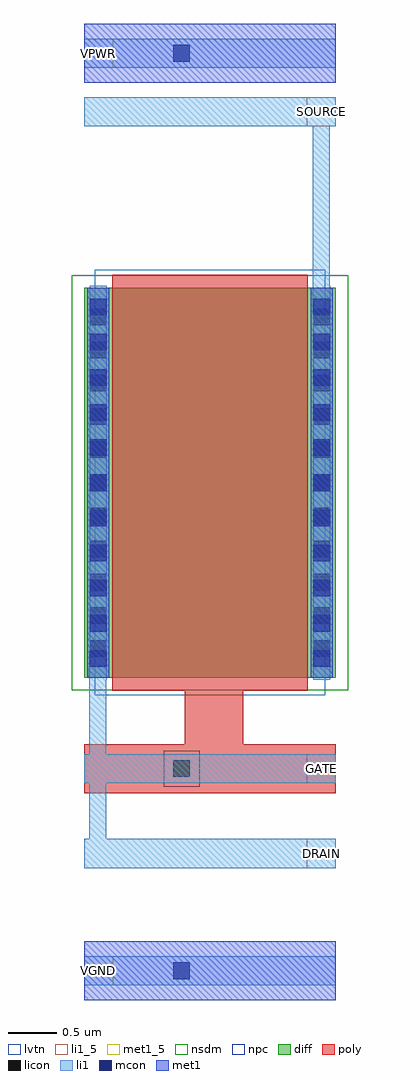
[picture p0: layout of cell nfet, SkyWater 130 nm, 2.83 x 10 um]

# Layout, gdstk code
import gdstk
lib = gdstk.Library(unit=1e-6, precision=1e-09)
def R(c, l, rs):  # rectangles x0, y0, x1, y1
    for r in rs: c.add(gdstk.rectangle(r[:2], r[2:], *l))
def A(c, l, x, y, w, h, nx, ny, dx, dy):  # array of equal rectangles
    R(c, l, [(x+i*dx, y+j*dy, x+i*dx+w, y+j*dy+h) for i in range(nx) for j in range(ny)])
diff = (65, 20)
poly = (66, 20)
licon = (66, 44)
li1_5 = (67, 5)
li1 = (67, 20)
mcon = (67, 44)
met1_5 = (68, 5)
met1 = (68, 20)
nsdm = (93, 44)
npc = (95, 20)
lvtn = (125, 44)

sky130_fd_pr__nfet_01v8_ = lib.new_cell('sky130_fd_pr__nfet_01v8_lvt_WX3WYP')
R(sky130_fd_pr__nfet_01v8_, diff, [(-1.29,-2,1.29,2)])
R(sky130_fd_pr__nfet_01v8_, poly, [(-1,-2.13,1,2.13)])
A(sky130_fd_pr__nfet_01v8_, licon, -1.23, -1.785, 0.17, 0.17, 1, 11, 0, 0.34)
A(sky130_fd_pr__nfet_01v8_, licon, 1.06, -1.785, 0.17, 0.17, 1, 11, 0, 0.34)
R(sky130_fd_pr__nfet_01v8_, li1, [(-1.23,-2.02,-1.06,2.02), (1.06,-2.02,1.23,2.02)])
A(sky130_fd_pr__nfet_01v8_, mcon, -1.23, -1.885, 0.17, 0.17, 1, 11, 0, 0.36)
A(sky130_fd_pr__nfet_01v8_, mcon, 1.06, -1.885, 0.17, 0.17, 1, 11, 0, 0.36)
R(sky130_fd_pr__nfet_01v8_, met1, [(-1.26,-2,-1.03,2), (1.03,-2,1.26,2)])
R(sky130_fd_pr__nfet_01v8_, nsdm, [(-1.415,-2.125,1.415,2.125)])
R(sky130_fd_pr__nfet_01v8_, lvtn, [(-1.18,-2.18,1.18,2.18)])

nfet = lib.new_cell('nfet')
R(nfet, poly, [(-1.29,-3.18,1.29,-2.68), (-0.26,-2.68,0.34,-1.83)])
R(nfet, licon, [(-0.375,-3.015,-0.205,-2.845)])
R(nfet, li1_5, [(0.99,-3.95,1.29,-3.65), (0.99,-3.08,1.29,-2.78), (0.99,3.65,1.29,3.95)])
R(nfet, li1, [(-1.29,-5.15,1.29,-4.85), (-1.29,-3.95,1.29,-3.65), (-1.235,-3.65,-1.065,-3.08), (-1.29,-3.08,1.29,-2.78), (-1.235,-2.78,-1.065,-1.73), (1.055,1.73,1.225,3.65), (-1.29,3.65,1.29,3.95), (-1.29,4.25,1.29,4.55)])
R(nfet, mcon, [(-0.375,-5.085,-0.205,-4.915), (-0.375,4.315,-0.205,4.485)])
R(nfet, met1_5, [(-1.29,-5.15,-0.99,-4.85), (-1.29,4.25,-0.99,4.55)])
R(nfet, met1, [(-1.29,-5.3,1.29,-4.7), (-1.29,4.1,1.29,4.7)])
R(nfet, npc, [(-0.475,-3.115,-0.105,-2.745)])
nfet.add(gdstk.Reference(sky130_fd_pr__nfet_01v8_, (0,0)))
nfet.add(gdstk.Label('VPWR', (-1.14,4.4), layer=68, texttype=5))
nfet.add(gdstk.Label('VGND', (-1.14,-5), layer=68, texttype=5))
nfet.add(gdstk.Label('SOURCE', (1.14,3.8), layer=67, texttype=5))
nfet.add(gdstk.Label('DRAIN', (1.14,-3.8), layer=67, texttype=5))
nfet.add(gdstk.Label('GATE', (1.14,-2.93), layer=67, texttype=5))

lib.write_gds('nfet.gds')
